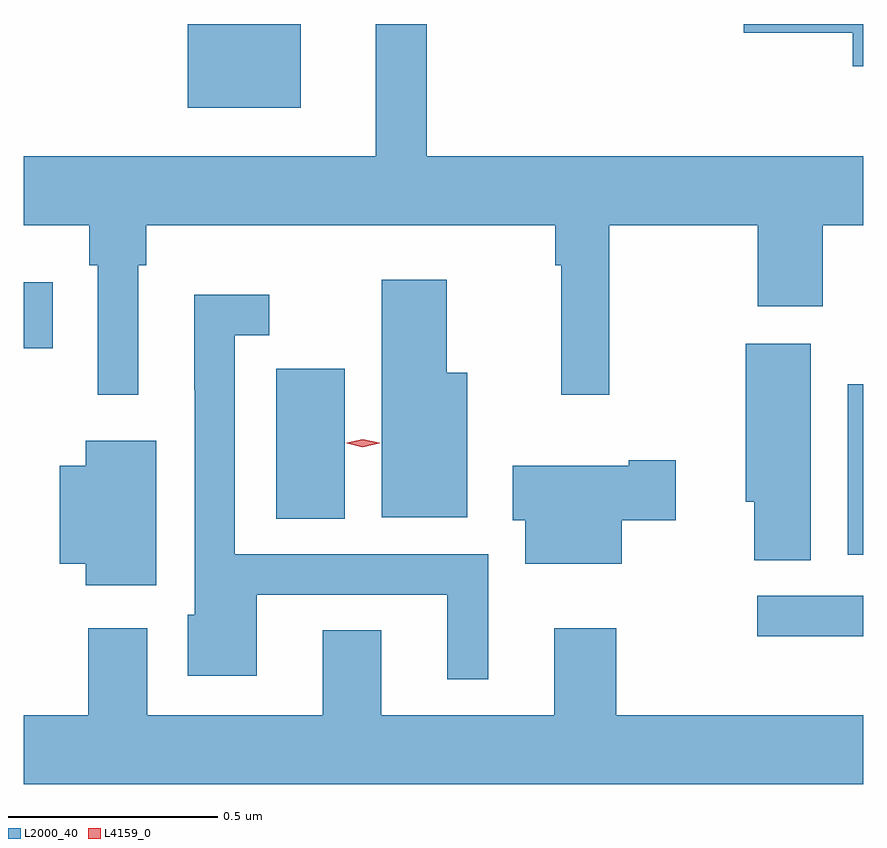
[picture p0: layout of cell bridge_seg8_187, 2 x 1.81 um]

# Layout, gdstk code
import gdstk
lib = gdstk.Library(unit=1e-6, precision=1e-09)
def R(c, l, rs):  # rectangles x0, y0, x1, y1
    for r in rs: c.add(gdstk.rectangle(r[:2], r[2:], *l))
def P(c, l, *ps):  # polygons
    for p in ps: c.add(gdstk.Polygon(p, *l))
L2000_40 = (2000, 40)
L4159_0 = (4159, 0)

bridge_seg8_187 = lib.new_cell('bridge_seg8_187')
R(bridge_seg8_187, L2000_40, [(329.205,1088.88,329.457,1088.976), (329.42,1089.074,329.457,1089.481), (328.058,1089.16,328.222,1089.517), (327.457,1089.566,327.526,1089.724), (327.848,1090.139,328.117,1090.339)])
P(bridge_seg8_187, L2000_40, [(327.73,1089.764),(327.749,1089.764),(327.749,1089.86),(328.723,1089.86),(328.723,1089.764),(328.738,1089.764),(328.738,1089.456),(328.852,1089.456),(328.852,1089.86),(329.206,1089.86),(329.206,1089.666),(329.361,1089.666),(329.361,1089.86),(329.457,1089.86),(329.457,1090.024),(328.417,1090.024),(328.417,1090.339),(328.295,1090.339),(328.295,1090.024),(327.457,1090.024),(327.457,1089.86),(327.613,1089.86),(327.613,1089.764),(327.633,1089.764),(327.633,1089.456),(327.73,1089.456)],
  [(329.457,1090.339),(329.172,1090.339),(329.172,1090.318),(329.432,1090.318),(329.432,1090.238),(329.457,1090.238)],
  [(328.513,1089.508),(328.465,1089.508),(328.465,1089.73),(328.31,1089.73),(328.31,1089.164),(328.513,1089.164)],
  [(328.564,1089.075),(327.96,1089.075),(327.96,1089.597),(328.042,1089.597),(328.042,1089.694),(327.863,1089.694),(327.863,1089.468),(327.864,1089.468),(327.864,1088.931),(327.848,1088.931),(327.848,1088.786),(328.012,1088.786),(328.012,1088.979),(328.466,1088.979),(328.466,1088.778),(328.564,1088.778)],
  [(329.332,1089.577),(329.177,1089.577),(329.177,1089.201),(329.198,1089.201),(329.198,1089.061),(329.332,1089.061)],
  [(327.772,1089.346),(327.605,1089.346),(327.605,1089.286),(327.542,1089.286),(327.542,1089.053),(327.605,1089.053),(327.605,1089.002),(327.772,1089.002)],
  [(328.882,1089.157),(329.011,1089.157),(329.011,1089.299),(328.898,1089.299),(328.898,1089.286),(328.622,1089.286),(328.622,1089.157),(328.652,1089.157),(328.652,1089.053),(328.882,1089.053)],
  [(329.457,1088.692),(328.869,1088.692),(328.869,1088.899),(328.721,1088.899),(328.721,1088.692),(328.309,1088.692),(328.309,1088.894),(328.169,1088.894),(328.169,1088.692),(327.751,1088.692),(327.751,1088.899),(327.611,1088.899),(327.611,1088.692),(327.457,1088.692),(327.457,1088.528),(329.457,1088.528)])
P(bridge_seg8_187, L4159_0, [(328.265,1089.33),(328.226,1089.34),(328.226,1089.34),(328.226,1089.341),(328.265,1089.35),(328.304,1089.341),(328.305,1089.34),(328.304,1089.34)])

lib.write_gds('bridge_seg8_187.gds')
